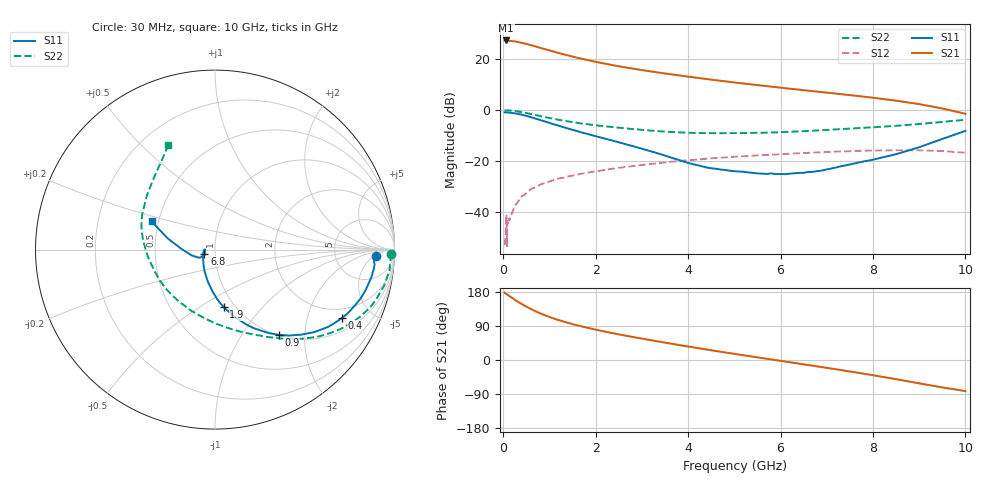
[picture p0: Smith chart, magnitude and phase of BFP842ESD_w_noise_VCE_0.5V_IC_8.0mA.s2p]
! Infineon Technologies  Discrete & RF Semiconductors
! BFP842ESD
! VCE =  0.5 V,  IC =  8.0 mA
! Common Emitter S-Parameters:  May 2012
# GHz  S  MA  R  50
!  f  S11  S21  S12  S22
! GHz  MAG  ANG  MAG  ANG  MAG  ANG  MAG  ANG
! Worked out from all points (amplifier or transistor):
!   99 points, 30 MHz to 10 GHz, reference 50 ohm
!   highest |S21| = 27.3 dB at 60 MHz (marker M1)
!   |S21| within 3 dB of that: start of sweep to 822.1 MHz
!   unconditionally stable (mu >= 1): 2.7 GHz to end of sweep
!   at 350 MHz: K = 0.19, MSG = 30.9 dB, |S12| = -35.2 dB
!   at 3.5 GHz: K = 1.10, MAG = 15.6 dB, |S12| = -20.6 dB
!   at 10 GHz: K = 2.03, MAG = 1.8 dB, |S12| = -16.8 dB
!   lowest NFmin = 0.54 dB at 450 MHz
!   S11 on the Smith chart (normalised r, x): 30 MHz: 16, -6; 400 MHz: 1.54, -3.30; 900 MHz: 1.01, -1.48; 1.9 GHz: 0.89, -0.63; 6.8 GHz: 0.89, -0.04; 10 GHz: 0.46, +0.17
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0.03  0.895 -2.2  22.89 177.7  0.0022 81.7  0.98 -1.4
0.06  0.8907 -4.9  23.16 174.7  0.0061 -5.0  0.9804 -3.5
0.07  0.8937 -5.3  22.94 174.0  0.0088 86.4  0.9824 -3.9
0.08  0.8918 -5.9  22.99 173.0  0.0021 65.6  0.979 -4.3
0.09  0.8919 -6.8  22.68 172.6  0.0064 90.4  0.978 -5.3
0.11  0.8869 -8.4  23.01 170.5  0.0057 77.8  0.9785 -6.5
0.25  0.8567 -18.4  22.21 159.1  0.0131 81.0  0.9496 -14.8
0.4  0.8037 -28.3  20.8 147.7  0.0202 71.8  0.9045 -22.8
0.6  0.7196 -39.7  18.7 134.4  0.0278 65.3  0.8307 -32.0
0.7  0.6756 -44.5  17.66 128.6  0.0304 64.1  0.7926 -35.9
0.9  0.5933 -53.2  15.65 118.2  0.0367 57.5  0.7242 -42.7
1.2  0.4886 -63.7  13.12 105.3  0.0449 52.3  0.6396 -51.0
1.5  0.4059 -71.8  11.17 94.7  0.0513 48.9  0.5757 -58.0
1.7  0.3595 -76.8  10.11 88.6  0.0557 46.8  0.5401 -62.4
1.9  0.3222 -81.4  9.229 82.9  0.06 45.0  0.5123 -66.7
2.6  0.2185 -95.6  6.963 65.4  0.0743 38.0  0.4383 -81.7
3.4  0.1351 -115.3  5.357 48.0  0.0904 29.3  0.3799 -101.8
5.1  0.0616 -176.2  3.379 14.4  0.1219 8.9  0.3496 -147.8
6.7  0.0607 -161.7  2.338 -15.1  0.1448 -12.1  0.3908 177.9
6.8  0.0629 -159.2  2.285 -17.0  0.1463 -13.5  0.3947 176.1
8.5  0.1349 -166.4  1.518 -50.7  0.1612 -41.6  0.4865 141.0
10  0.3868 156.1  0.838 -82.0  0.144 -72.3  0.6399 113.9
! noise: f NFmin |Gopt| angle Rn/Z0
0.45  0.54  0.21  2  0.1
0.9  0.55  0.22  7  0.1
1.5  0.57  0.23  18  0.09
1.9  0.58  0.22  25  0.09
2.4  0.59  0.18  33  0.08
3.5  0.67  0.11  86  0.08
4  0.7  0.1  115  0.08
5  0.76  0.11  136  0.08
5.5  0.88  0.11  162  0.07
6  0.99  0.11  178  0.06
